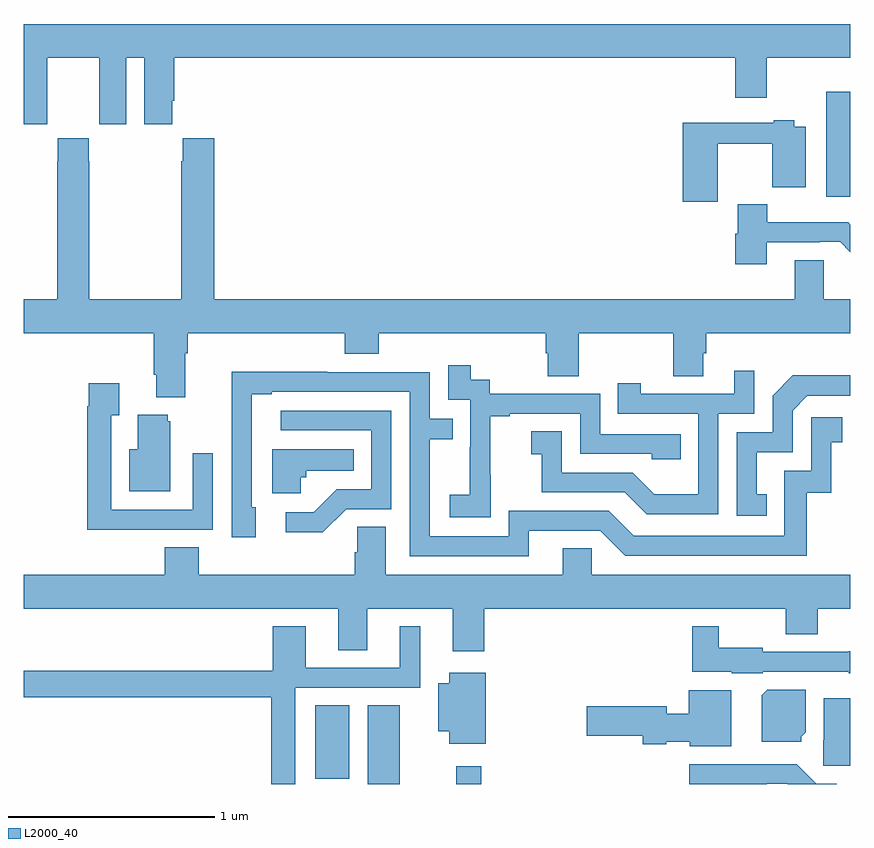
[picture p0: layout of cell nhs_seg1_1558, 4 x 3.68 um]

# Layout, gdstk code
import gdstk
lib = gdstk.Library(unit=1e-6, precision=1e-09)
def R(c, l, rs):  # rectangles x0, y0, x1, y1
    for r in rs: c.add(gdstk.rectangle(r[:2], r[2:], *l))
def P(c, l, *ps):  # polygons
    for p in ps: c.add(gdstk.Polygon(p, *l))
L2000_40 = (2000, 40)

nhs_seg1_1558 = lib.new_cell('nhs_seg1_1558')
R(nhs_seg1_1558, L2000_40, [(196.664,568.199,196.819,568.58), (197.092,568.199,197.213,568.285), (196.412,568.224,196.576,568.58), (198.884,571.041,199,571.549)])
P(nhs_seg1_1558, L2000_40, [(195.114,571.504),(195.115,571.504),(195.115,571.712),(195.365,571.712),(195.365,571.504),(195.366,571.504),(195.366,571.392),(195.496,571.392),(195.496,571.712),(195.584,571.712),(195.584,571.392),(195.718,571.392),(195.718,571.504),(195.728,571.504),(195.728,571.712),(198.443,571.712),(198.443,571.518),(198.595,571.518),(198.595,571.712),(199,571.712),(199,571.876),(195,571.876),(195,571.392),(195.114,571.392)],
  [(198.358,571.297),(198.622,571.297),(198.622,571.085),(198.784,571.085),(198.784,571.378),(198.729,571.378),(198.729,571.411),(198.629,571.411),(198.629,571.398),(198.188,571.398),(198.188,571.017),(198.358,571.017)],
  [(195.923,571.324),(195.769,571.324),(195.769,571.211),(195.763,571.211),(195.763,570.544),(195.318,570.544),(195.318,571.211),(195.315,571.211),(195.315,571.324),(195.165,571.324),(195.165,571.211),(195.163,571.211),(195.163,570.544),(195,570.544),(195,570.38),(195.629,570.38),(195.629,570.178),(195.641,570.178),(195.641,570.071),(195.781,570.071),(195.781,570.284),(195.794,570.284),(195.794,570.38),(196.553,570.38),(196.553,570.281),(196.718,570.281),(196.718,570.38),(197.525,570.38),(197.525,570.282),(197.537,570.282),(197.537,570.172),(197.685,570.172),(197.685,570.38),(198.142,570.38),(198.142,570.172),(198.289,570.172),(198.289,570.282),(198.302,570.282),(198.302,570.38),(199,570.38),(199,570.544),(198.871,570.544),(198.871,570.734),(198.731,570.734),(198.731,570.544),(195.923,570.544)],
  [(198.595,570.819),(198.851,570.819),(198.851,570.822),(198.95,570.822),(199,570.772),(199,570.905),(198.989,570.916),(198.598,570.916),(198.598,571.003),(198.455,571.003),(198.455,570.861),(198.443,570.861),(198.443,570.714),(198.595,570.714)],
  [(197.259,569.695),(197.258,569.695),(197.258,569.979),(197.353,569.979),(197.353,569.991),(197.694,569.991),(197.694,569.796),(198.039,569.796),(198.039,569.769),(198.179,569.769),(198.179,569.892),(197.79,569.892),(197.79,570.087),(197.256,570.087),(197.256,570.156),(197.164,570.156),(197.164,570.226),(197.055,570.226),(197.055,570.057),(197.16,570.057),(197.16,569.828),(197.159,569.828),(197.159,569.599),(197.061,569.599),(197.061,569.489),(197.259,569.489)],
  [(198.36,569.991),(198.534,569.991),(198.534,570.199),(198.437,570.199),(198.437,570.087),(197.986,570.087),(197.986,570.139),(197.875,570.139),(197.875,569.991),(198.264,569.991),(198.264,569.602),(198.05,569.602),(197.946,569.706),(197.604,569.706),(197.604,569.905),(197.457,569.905),(197.457,569.795),(197.506,569.795),(197.506,569.61),(197.909,569.61),(198.014,569.505),(198.36,569.505)],
  [(197.443,569.424),(197.79,569.424),(197.91,569.304),(198.79,569.304),(198.79,569.607),(198.908,569.607),(198.908,569.853),(198.961,569.853),(198.961,569.974),(198.81,569.974),(198.81,569.715),(198.681,569.715),(198.681,569.4),(197.952,569.4),(197.832,569.52),(197.346,569.52),(197.346,569.397),(196.965,569.397),(196.965,569.866),(197.075,569.866),(197.075,569.967),(196.965,569.967),(196.965,570.192),(196.469,570.192),(196.469,570.194),(196.006,570.194),(196.006,569.887),(196.008,569.887),(196.008,569.394),(196.123,569.394),(196.123,569.538),(196.104,569.538),(196.104,570.084),(196.201,570.084),(196.201,570.096),(196.869,570.096),(196.869,569.301),(197.443,569.301)],
  [(198.596,569.601),(198.547,569.601),(198.547,569.805),(198.72,569.805),(198.72,570.006),(198.792,570.078),(199,570.078),(199,570.176),(198.722,570.176),(198.624,570.078),(198.624,569.901),(198.45,569.901),(198.45,569.496),(198.596,569.496)],
  [(195.599,569.43),(195.915,569.43),(195.915,569.8),(195.819,569.8),(195.819,569.526),(195.423,569.526),(195.423,569.983),(195.463,569.983),(195.463,570.139),(195.315,570.139),(195.315,570.026),(195.307,570.026),(195.307,569.429),(195.599,569.429)],
  [(196.56,569.529),(196.779,569.529),(196.779,570.006),(196.245,570.006),(196.245,569.91),(196.683,569.91),(196.683,569.625),(196.514,569.625),(196.403,569.514),(196.269,569.514),(196.269,569.417),(196.447,569.417)],
  [(195.709,569.955),(195.698,569.955),(195.698,569.986),(195.551,569.986),(195.551,569.818),(195.512,569.818),(195.512,569.615),(195.709,569.615)],
  [(196.341,569.682),(196.368,569.682),(196.368,569.714),(196.598,569.714),(196.598,569.818),(196.202,569.818),(196.202,569.606),(196.341,569.606)],
  [(197.228,569.048),(198.688,569.048),(198.688,568.924),(198.843,568.924),(198.843,569.048),(199,569.048),(199,569.212),(197.748,569.212),(197.748,569.339),(197.609,569.339),(197.609,569.212),(196.753,569.212),(196.753,569.444),(196.614,569.444),(196.614,569.321),(196.601,569.321),(196.601,569.212),(195.848,569.212),(195.848,569.345),(195.683,569.345),(195.683,569.212),(195,569.212),(195,569.048),(196.523,569.048),(196.523,568.846),(196.663,568.846),(196.663,569.048),(197.075,569.048),(197.075,568.842),(197.228,568.842)],
  [(196.314,568.665),(196.918,568.665),(196.918,568.963),(196.82,568.963),(196.82,568.761),(196.366,568.761),(196.366,568.963),(196.205,568.963),(196.205,568.747),(195,568.747),(195,568.618),(196.198,568.618),(196.198,568.199),(196.314,568.199)],
  [(198.576,568.743),(198.993,568.743),(198.993,568.736),(199,568.736),(199,568.841),(198.993,568.841),(198.993,568.839),(198.576,568.839),(198.576,568.858),(198.364,568.858),(198.364,568.963),(198.235,568.963),(198.235,568.742),(198.426,568.742),(198.426,568.736),(198.576,568.736)],
  [(197.236,568.738),(197.06,568.738),(197.06,568.687),(197.006,568.687),(197.006,568.454),(197.06,568.454),(197.06,568.394),(197.236,568.394)],
  [(198.762,568.428),(198.784,568.45),(198.784,568.654),(198.598,568.654),(198.572,568.628),(198.572,568.403),(198.762,568.403)],
  [(198.424,568.652),(198.218,568.652),(198.218,568.538),(198.112,568.538),(198.112,568.575),(197.724,568.575),(197.724,568.433),(197.996,568.433),(197.996,568.391),(198.108,568.391),(198.108,568.403),(198.222,568.403),(198.222,568.382),(198.424,568.382)],
  [(199,568.615),(198.872,568.615),(198.872,568.41),(198.868,568.41),(198.868,568.287),(199,568.287)],
  [(198.596,568.2),(198.696,568.2),(198.697,568.199),(198.934,568.199),(198.934,568.2),(198.834,568.2),(198.74,568.294),(198.221,568.294),(198.221,568.199),(198.596,568.199)])

lib.write_gds('nhs_seg1_1558.gds')
